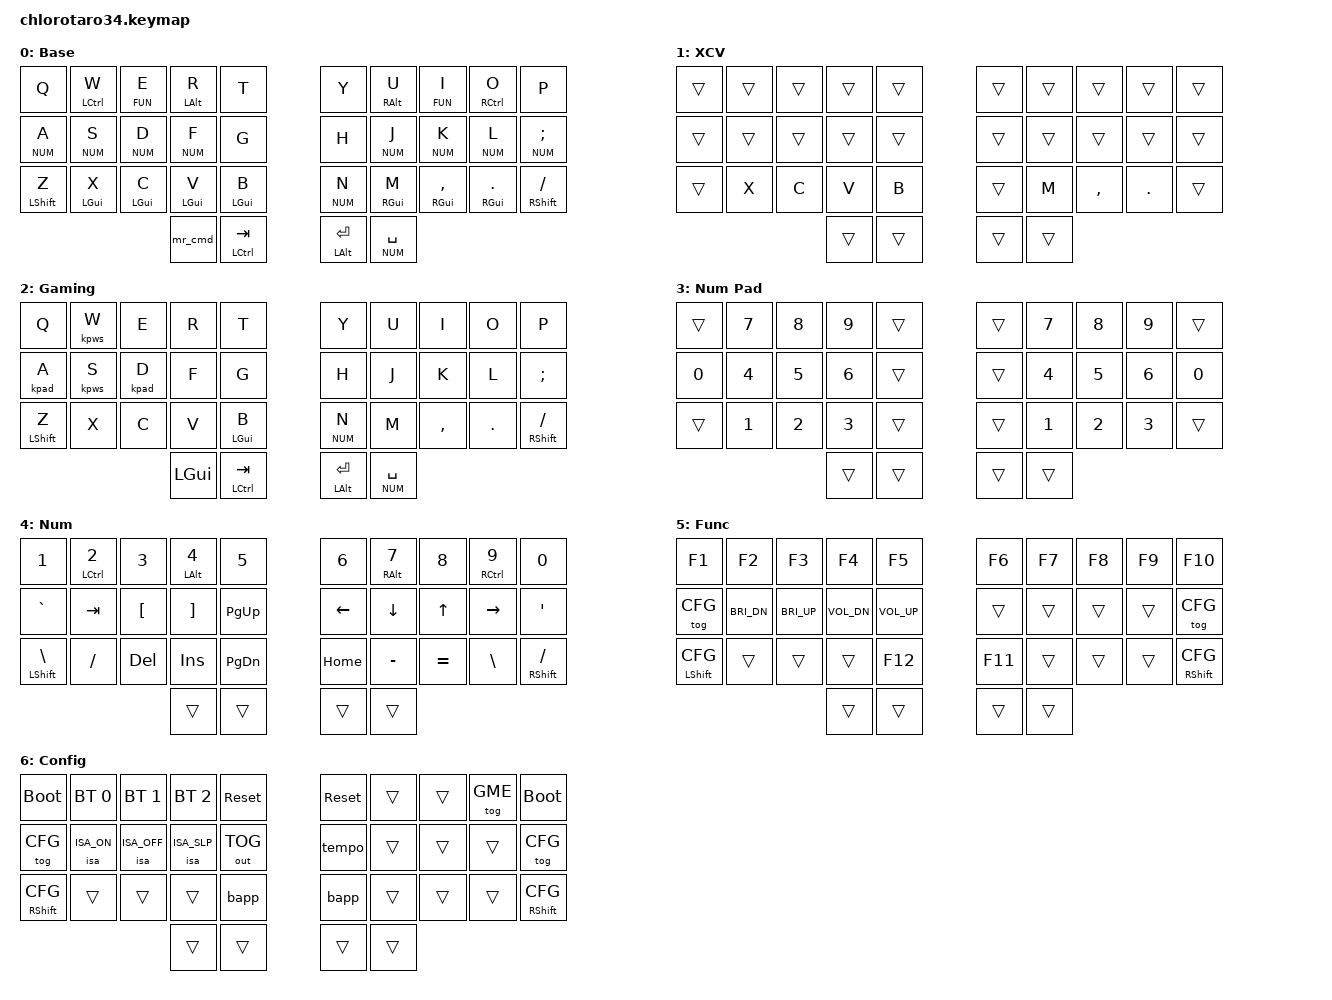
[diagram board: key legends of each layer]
/*
 * Copyright (c) 2020 The ZMK Contributors
 *
 * SPDX-License-Identifier: MIT
 */

#include <zephyr/dt-bindings/input/input-event-codes.h>

#include <behaviors.dtsi>
#include <behaviors/studio_unlock.dtsi>
#include <behaviors/mouse_keys.dtsi>
#include <behaviors/mouse_key_press.dtsi>
#include <behaviors/mouse_key_toggle.dtsi>
#include <behaviors/battery_percentage_printer.dtsi>

#include <dt-bindings/zmk/keys.h>
#include <dt-bindings/zmk/bt.h>
#include <dt-bindings/zmk/rgb.h>
#include <dt-bindings/zmk/ext_power.h>
#include <dt-bindings/zmk/outputs.h>
#include <dt-bindings/zmk/mouse.h>
#include <dt-bindings/zmk/input_transform.h>

#include <behaviors/key_press_lip.dtsi> // &kpws
#include <behaviors/tempo.dtsi> // &tempo
#include <behaviors/insomnia.dtsi> // &isa
#include <dt-bindings/zmk/insomnia.h> // &isa params

#include <input/processors/report_rate_limit.dtsi> // &zip_report_rate_limit
#include <input/processors/xyz.dtsi> // &zip_zxy

#define BAS 0
#define XCV 1
#define GME 2
#define NUP 3
#define NUM 4
#define FUN 5
#define CFG 6

&zip_report_rate_limit {
        limit-ble-only;
};

/ {
        xy_transf: xy_transf {
                compatible = "zmk,input-processor-transform";
                #input-processor-cells = <1>;
                type = <INPUT_EV_REL>;
                x-codes = <INPUT_REL_X>, <INPUT_REL_WHEEL>;
                y-codes = <INPUT_REL_Y>, <INPUT_REL_HWHEEL>;
        };
        xy_scaler: xy_scaler {
                compatible = "zmk,input-processor-scaler";
                #input-processor-cells = <2>;
                type = <INPUT_EV_REL>;
                codes = <INPUT_REL_X>, <INPUT_REL_Y>;
                track-remainders;
        };
        x_scaler: x_scaler {
                compatible = "zmk,input-processor-scaler";
                #input-processor-cells = <2>;
                type = <INPUT_EV_REL>;
                codes = <INPUT_REL_X>;
        };
        to_wheel: to_wheel {
                compatible = "zmk,input-processor-code-mapper";
                #input-processor-cells = <0>;
                type = <INPUT_EV_REL>;
                map = <INPUT_REL_X INPUT_REL_HWHEEL>
                    , <INPUT_REL_Y INPUT_REL_WHEEL>;
        };

        // tball0_mmv_il {
        //         compatible = "zmk,input-listener";
        //         device = <&tball0>;
        //         input-processors = <&zip_report_rate_limit 14>;
        //         scroll {
        //                 layers = <NUM>;
        //                 process-next;
        //                 input-processors = <&xy_transf (INPUT_TRANSFORM_Y_INVERT)>
        //                                 , <&xy_scaler 1 15>, <&x_scaler 0 1>
        //                                 , <&to_wheel>;
        //         };
        // };

        tball0_s_mmv_il {
                compatible = "zmk,input-listener";
                device = <&tball0_split>;
                input-processors = <&zip_zxy>, <&zip_report_rate_limit 14>;
                scroll {
                        layers = <NUM>;
                        process-next;
                        input-processors = <&xy_transf (INPUT_TRANSFORM_Y_INVERT)>
                                        , <&xy_scaler 1 25>, <&x_scaler 0 1>
                                        , <&to_wheel>;
                };
        };

        behaviors {
                ht: hold_tap_mods {
                        compatible = "zmk,behavior-hold-tap"; #binding-cells = <2>;
                        tapping-term-ms = <200>;
                        flavor = "hold-preferred"; bindings = <&kp>, <&kp>;
                        display-name = "mod-tap";
                };
                hm: homerow_mods {
                        compatible = "zmk,behavior-hold-tap"; #binding-cells = <2>;
                        tapping-term-ms = <200>; quick-tap-ms = <200>;
                        flavor = "tap-preferred"; bindings = <&kp>, <&kp>;
                        display-name = "mod-tap";
                };
                hl: homerow_layers {
                        compatible = "zmk,behavior-hold-tap"; #binding-cells = <2>;
                        tapping-term-ms = <200>; quick-tap-ms = <200>;
                        flavor = "tap-preferred"; bindings = <&mo>, <&kp>;
                        display-name = "hold-layer";
                };
                kg: key_press_tap_toggle {
                        compatible = "zmk,behavior-hold-tap"; #binding-cells = <2>;
                        tapping-term-ms = <200>; quick-tap-ms = <200>;
                        flavor = "tap-preferred"; bindings = <&kp>, <&tog>;
                };
                mkg: hold_mouse_key_press_tap_toggle {
                        compatible = "zmk,behavior-hold-tap"; #binding-cells = <2>;
                        tapping-term-ms = <200>; quick-tap-ms = <200>;
                        flavor = "tap-preferred"; bindings = <&mkp>, <&tog>;
                };
        };

        macros {
                mr_cmd: mr_cmd {
                        compatible = "zmk,behavior-macro";
                        #binding-cells = <0>;
                        bindings = <&macro_press &mo XCV &kp LGUI>
                                 , <&macro_pause_for_release>
                                 , <&macro_release &mo XCV &kp LGUI>
                                 ;
                };
        };

        //   0   1   2   3   4     5   6   7   8   9
        //  10  11  12  13  14    15  16  17  18  19
        //  20  21  22  23  24    25  26  27  28  29
        //              30  31    32  33
        combos {
                compatible = "zmk,combos";

                bksp      { timeout-ms = <50>; key-positions = <7 8>; bindings = <&kp BKSP>; layers = <BAS XCV GME NUP NUM FUN CFG>; };
                del       { timeout-ms = <50>; key-positions = <6 7 8>; bindings = <&kp DEL>; layers = <BAS XCV GME NUP NUM FUN CFG>; };
  
                esc       { timeout-ms = <50>; key-positions = <1 2>; bindings = <&kp ESC>; layers = <BAS XCV GME NUP NUM FUN CFG>; };
                tab       { timeout-ms = <50>; key-positions = <2 3>; bindings = <&kp TAB>; layers = <BAS XCV GME NUP NUM FUN CFG>; };

                spc_l     { timeout-ms = <50>; key-positions = <12 13>; bindings = <&kp SPC>; layers = <BAS XCV GME NUP NUM FUN CFG>; };
                spc_r     { timeout-ms = <50>; key-positions = <16 17>; bindings = <&kp SPC>; layers = <BAS XCV GME NUP NUM FUN CFG>; };
                spc_l2    { timeout-ms = <50>; key-positions = <22 23>; bindings = <&kp SPC>; layers = <BAS XCV GME NUP NUM FUN CFG>; };
                spc_r2    { timeout-ms = <50>; key-positions = <26 27>; bindings = <&kp SPC>; layers = <BAS XCV GME NUP NUM FUN CFG>; };

                ret_r     { timeout-ms = <50>; key-positions = <26 17 18>; bindings = <&kp RET>; layers = <BAS XCV GME NUP NUM FUN CFG>; };
                ret_l     { timeout-ms = <50>; key-positions = <11 12 23>; bindings = <&kp RET>; layers = <BAS XCV GME NUP NUM FUN CFG>; };

                tog_NUP_l  { timeout-ms = <50>; key-positions = <1 23>; bindings = <&tog NUP>; layers = <BAS XCV GME NUP NUM FUN CFG>; };
                tog_NUP_r  { timeout-ms = <50>; key-positions = <8 26>; bindings = <&tog NUP>; layers = <BAS XCV GME NUP NUM FUN CFG>; };
 
                tog_NUM_l  { timeout-ms = <50>; key-positions = <10 24>; bindings = <&tog NUM>; layers = <BAS XCV GME NUP NUM FUN CFG>; };
                tog_NUM_r  { timeout-ms = <50>; key-positions = <19 25>; bindings = <&tog NUM>; layers = <BAS XCV GME NUP NUM FUN CFG>; };
                tog_NUM_la { timeout-ms = <50>; key-positions = <10 23>; bindings = <&tog NUM>; layers = <BAS XCV GME NUP NUM FUN CFG>; };
                tog_NUM_ra { timeout-ms = <50>; key-positions = <19 26>; bindings = <&tog NUM>; layers = <BAS XCV GME NUP NUM FUN CFG>; };
                tog_NUM_lb { timeout-ms = <50>; key-positions = <10 13>; bindings = <&tog NUM>; layers = <BAS XCV GME NUP NUM FUN CFG>; };
                tog_NUM_rb { timeout-ms = <50>; key-positions = <19 16>; bindings = <&tog NUM>; layers = <BAS XCV GME NUP NUM FUN CFG>; };
                tog_NUM_lc { timeout-ms = <50>; key-positions = <11 13>; bindings = <&tog NUM>; layers = <BAS XCV GME NUP NUM FUN CFG>; };
                tog_NUM_rc { timeout-ms = <50>; key-positions = <16 18>; bindings = <&tog NUM>; layers = <BAS XCV GME NUP NUM FUN CFG>; };
                tog_NUM_l34    { timeout-ms = <50>; key-positions = <10 30>; bindings = <&tog NUM>; layers = <BAS XCV GME NUP NUM FUN CFG>; };
                tog_NUM_r34    { timeout-ms = <50>; key-positions = <19 33>; bindings = <&tog NUM>; layers = <BAS XCV GME NUP NUM FUN CFG>; };

                tog_FUN_l  { timeout-ms = <50>; key-positions = <21 22>; bindings = <&tog FUN>; layers = <BAS XCV GME NUP NUM FUN CFG>; };
                tog_FUN_r  { timeout-ms = <50>; key-positions = <27 28>; bindings = <&tog FUN>; layers = <BAS XCV GME NUP NUM FUN CFG>; };

                lclk_l     { timeout-ms = <50>; key-positions = <11 12>; bindings = <&mkp LCLK>; layers = <BAS XCV GME NUP NUM FUN CFG>; };
                rclk_l     { timeout-ms = <50>; key-positions = <11 24>; bindings = <&mkp RCLK>; layers = <BAS XCV GME NUP NUM FUN CFG>; };
                mclk_l     { timeout-ms = <50>; key-positions = <12 24>; bindings = <&mkp MCLK>; layers = <BAS XCV GME NUP NUM FUN CFG>; };
                rclk_la    { timeout-ms = <50>; key-positions = <11 23>; bindings = <&mkp RCLK>; layers = <BAS XCV GME NUP NUM FUN CFG>; };
                mclk_la    { timeout-ms = <50>; key-positions = <12 23>; bindings = <&mkp MCLK>; layers = <BAS XCV GME NUP NUM FUN CFG>; };
                m4_l       { timeout-ms = <50>; key-positions = <13 23>; bindings = <&mkp MB4>; layers = <BAS XCV GME NUP NUM FUN CFG>; };
                m5_l       { timeout-ms = <50>; key-positions = <14 24>; bindings = <&mkp MB5>; layers = <BAS XCV GME NUP NUM FUN CFG>; };
                rclk_l34    { timeout-ms = <50>; key-positions = <11 30>; bindings = <&mkp RCLK>; layers = <BAS XCV GME NUP NUM FUN CFG>; };
                mclk_l34    { timeout-ms = <50>; key-positions = <12 30>; bindings = <&mkp MCLK>; layers = <BAS XCV GME NUP NUM FUN CFG>; };
                // m4_l34     { timeout-ms = <50>; key-positions = <13 30>; bindings = <&mkp MB4>; layers = <BAS XCV GME NUP NUM FUN CFG>; };
                // m5_l34     { timeout-ms = <50>; key-positions = <14 30>; bindings = <&mkp MB5>; layers = <BAS XCV GME NUP NUM FUN CFG>; };

                lclk_r     { timeout-ms = <50>; key-positions = <17 18>; bindings = <&mkp LCLK>; layers = <BAS XCV GME NUP NUM FUN CFG>; };
                rclk_r     { timeout-ms = <50>; key-positions = <18 25>; bindings = <&mkp RCLK>; layers = <BAS XCV GME NUP NUM FUN CFG>; };
                mclk_r     { timeout-ms = <50>; key-positions = <17 25>; bindings = <&mkp MCLK>; layers = <BAS XCV GME NUP NUM FUN CFG>; };
                rclk_ra    { timeout-ms = <50>; key-positions = <18 26>; bindings = <&mkp RCLK>; layers = <BAS XCV GME NUP NUM FUN CFG>; };
                mclk_ra    { timeout-ms = <50>; key-positions = <17 26>; bindings = <&mkp MCLK>; layers = <BAS XCV GME NUP NUM FUN CFG>; };
                m4_r       { timeout-ms = <50>; key-positions = <16 26>; bindings = <&mkp MB4>; layers = <BAS XCV GME NUP NUM FUN CFG>; };
                m5_r       { timeout-ms = <50>; key-positions = <15 25>; bindings = <&mkp MB5>; layers = <BAS XCV GME NUP NUM FUN CFG>; };
                rclk_r34   { timeout-ms = <50>; key-positions = <18 33>; bindings = <&mkp RCLK>; layers = <BAS XCV GME NUP NUM FUN CFG>; };
                mclk_r34   { timeout-ms = <50>; key-positions = <17 33>; bindings = <&mkp MCLK>; layers = <BAS XCV GME NUP NUM FUN CFG>; };
                // m4_r34     { timeout-ms = <50>; key-positions = <16 33>; bindings = <&mkp MB4>; layers = <BAS XCV GME NUP NUM FUN CFG>; };
                // m5_r34     { timeout-ms = <50>; key-positions = <15 33>; bindings = <&mkp MB5>; layers = <BAS XCV GME NUP NUM FUN CFG>; };

                bt_clr    { timeout-ms = <50>; key-positions = <1 2 3>; bindings = <&bt BT_CLR>; layers = <CFG>; };
                // dfu_l     { timeout-ms = <50>; key-positions = <0 1>; bindings = <&bootloader>; layers = <CFG>; };
        };

 
        keymap {
                compatible = "zmk,keymap";
                BAS_layer {
// +------------------------------------------------------+     +--------------------------------------------------------+
// |     Q    |  LCTRL:W |  _FUN:E  |  LALT:R  |     T    |     |     Y     |  RALT:U  |  _FUN:I   |  RCTRL:O |     P    |
// |  _NUM:A  |  _NUM:S  |  _NUM:D  |  _NUM:F  |     G    |     |     H     |  _NUM:J  |  _NUM:K   |  _NUM:L  |  _NUM:;: |
// |  SHFT Z  |  LGUI:X  |  LGUI:C  |  LGUI:V  |  LGUI:B  |     |  _NUM:N   |  RGUI:M  |  RGUI:,<  |  RGUI:.> |  SHFT /? |
//                                  |   LGUI   | CTRL:TAB |     |  ALT:ENT  | _NUM:SPC |
                        display-name = "Base";
                        bindings = <
   &kp Q          &hm LCTRL W   &hl FUN E    &hm LALT R    &kp T               &kp Y         &hm RALT U     &hl FUN I       &hm RCTRL O   &kp P
   &hl NUM A      &hl NUM S     &hl NUM D    &hl NUM F     &kp G               &kp H         &hl NUM J      &hl NUM K       &hl NUM L     &hl NUM SEMI
   &ht LSHFT Z    &hm LGUI X    &hm LGUI C   &hm LGUI V    &hm LGUI B          &lt NUM N     &hm RGUI M     &hm RGUI COMMA  &hm RGUI DOT  &ht RSHFT FSLH
                                             &mr_cmd       &ht LCTRL TAB       &ht LALT RET  &lt NUM SPACE
                        >;
                };
                XCV_layer {
                        display-name = "XCV";
                        bindings = <
   &trans  &trans  &trans  &trans  &trans    &trans  &trans  &trans     &trans   &trans
   &trans  &trans  &trans  &trans  &trans    &trans  &trans  &trans     &trans   &trans
   &trans  &kp X   &kp C   &kp V   &kp B     &trans  &kp M   &kp COMMA  &kp DOT  &trans
                           &trans  &trans    &trans  &trans
                        >;
                };
                GME_layer {
// +------------------------------------------------------+     +--------------------------------------------------------+
// |     Q    |     W    |     E    |     R    |     T    |     |     Y     |     U    |     I     |     O    |     P    |
// |     A    |     S    |     D    |     F    |     G    |     |     H     |     J    |     K     |     L    |     ;:   |
// |  SHFT Z  |     X    |     C    |     V    |  LGUI:B  |     |   _NUM:N  |     M    |    ,<     |    .>    |  SHFT /? |
//                                  |    GUI   | CTRL:TAB |     |  ALT:ENT  | _NUM:SPC |
                        display-name = "Gaming";
                        bindings = <
   &kp Q          &kpws W         &kp E          &kp R           &kp T               &kp Y           &kp U            &kp I           &kp O           &kp P
   &kpad A        &kpws S         &kpad D        &kp F           &kp G               &kp H           &kp J            &kp K           &kp L           &kp SEMI
   &ht LSHFT Z    &kp X           &kp C          &kp V           &hm LGUI B          &lt NUM N       &kp M            &kp COMMA       &kp DOT         &ht RSHFT FSLH
                                                 &kp LGUI        &ht LCTRL TAB       &ht LALT RET    &lt NUM SPACE
                        >;
                };
                NUP_layer {
                        display-name = "Num Pad";
                        bindings = <
   &trans  &kp N7  &kp N8  &kp N9  &trans    &trans  &kp N7  &kp N8  &kp N9  &trans
   &kp N0  &kp N4  &kp N5  &kp N6  &trans    &trans  &kp N4  &kp N5  &kp N6  &kp N0
   &trans  &kp N1  &kp N2  &kp N3  &trans    &trans  &kp N1  &kp N2  &kp N3  &trans
                           &trans  &trans    &trans  &trans
                        >;
                };
                NUM_layer {
// +------------------------------------------------------+     +-------------------------------------------------------+
// |    1!    | LCTRL:2@  |    3#    | LALT:4$  |    5%   |     |    6^    |  RALT:7& |    8&    |  RCTRL 9( |    0)    |
// |    `~    |   TAB     |    {[    |    ]}    |  PG_UP  |     |    LFT   |   DWN    |    UP    |    RGT    |    '"    |
// |  SHFT \| |    /?     |   DEL    |   INS    |  PG_DN  |     |   HOME   |    -_    |    =+    |    \|     |  SHFT /? |
//                                   |          |         |     |          |    (H)   |
                        display-name = "Num";
                        bindings = <
   &kp N1             &hm LCTRL N2   &kp N3     &hm LALT N4   &kp N5              &kp N6      &hm RALT N7   &kp N8      &hm RCTRL N9   &kp N0
   &kp GRAVE          &kp TAB        &kp LBKT   &kp RBKT      &kp PG_UP           &kp LEFT    &kp DOWN      &kp UP      &kp RIGHT      &kp SQT
   &ht LSHFT BSLH     &kp FSLH       &kp DEL    &kp INS       &kp PG_DN           &kp HOME    &kp MINUS     &kp EQUAL   &kp BSLH       &ht RSHFT FSLH
                                                &trans        &trans              &trans      &trans
                        >;
                };
                FUN_layer {
// +-----------------------------------------------------+     +------------------------------------------------------+
// |    F1    |    F2    |  (H) F3  |    F4    |    F5   |     |    F6    |    F7    |  (H) F8  |    F9    |    F10   |
// |   ^CFG   |   BRID   |   BRIU   |   VOLD   |   VOLU  |     |          |          |          |          |   ^CFG   |
// | SHF ^CFG |          |          |          |   F12   |     |   F11    |          |          |          | SHF ^CFG |
//                                  |          |         |     |          |          |
                        display-name = "Func";
                        bindings = <
   &kp F1         &kp F2        &kp F3        &kp F4        &kp F5            &kp F6      &kp F7      &kp F8      &kp F9      &kp F10
   &tog CFG       &kp C_BRI_DN  &kp C_BRI_UP  &kp C_VOL_DN  &kp C_VOL_UP      &trans      &trans      &trans      &trans      &tog CFG
   &kg LSHFT CFG  &trans        &trans        &trans        &kp F12           &kp F11     &trans      &trans      &trans      &kg RSHFT CFG
                                              &trans        &trans            &trans      &trans
                        >;
                };
                CFG_layer {
// +------------------------------------------------------+     +------------------------------------------------------+
// |   DFU    |   BT_0   |   BT_1   |   BT_2   |  RESET   |     |   RESET  |          |          |   ^GME   |    DFU   |
// |   ^CFG   |  ISA_ON  |  ISA_OFF |  ISA_SLP |  OUT_TOG |     |   TEMPO  |          |          |          |   ^CFG   |
// | SHF ^CFG |          |          |          |  BATT    |     |   BATT   |          |          |          | SHF ^CFG |
//                                  |          |          |     |          |          |
                        display-name = "Config";
                        bindings = <
   &bootloader    &bt BT_SEL 0  &bt BT_SEL 1  &bt BT_SEL 2       &sys_reset        &sys_reset   &trans             &trans      &tog GME      &bootloader
   &tog CFG       &isa ISA_ON   &isa ISA_OFF  &isa ISA_SLP       &out OUT_TOG      &tempo       &trans             &trans      &trans        &tog CFG
   &kg RSHFT CFG  &trans        &trans        &trans             &bapp             &bapp        &trans             &trans      &trans        &kg RSHFT CFG
                                              &trans             &trans            &trans       &trans
                        >;
                };
       };
};
